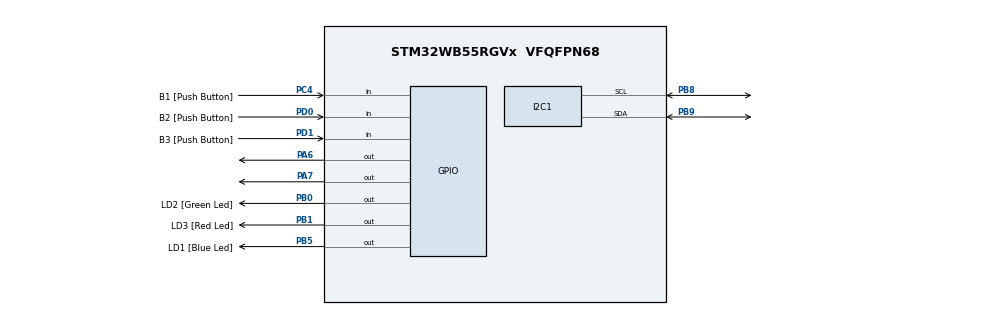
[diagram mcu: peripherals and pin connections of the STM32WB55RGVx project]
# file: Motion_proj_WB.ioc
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Dma.I2C1_RX.0.Direction=DMA_PERIPH_TO_MEMORY
Dma.I2C1_RX.0.EventEnable=DISABLE
Dma.I2C1_RX.0.Instance=DMA1_Channel7
Dma.I2C1_RX.0.MemDataAlignment=DMA_MDATAALIGN_BYTE
Dma.I2C1_RX.0.MemInc=DMA_MINC_ENABLE
Dma.I2C1_RX.0.Mode=DMA_NORMAL
Dma.I2C1_RX.0.PeriphDataAlignment=DMA_PDATAALIGN_BYTE
Dma.I2C1_RX.0.PeriphInc=DMA_PINC_DISABLE
Dma.I2C1_RX.0.Polarity=HAL_DMAMUX_REQ_GEN_RISING
Dma.I2C1_RX.0.Priority=DMA_PRIORITY_MEDIUM
Dma.I2C1_RX.0.RequestNumber=1
Dma.I2C1_RX.0.SignalID=NONE
Dma.I2C1_RX.0.SyncEnable=DISABLE
Dma.I2C1_RX.0.SyncPolarity=HAL_DMAMUX_SYNC_NO_EVENT
Dma.I2C1_RX.0.SyncRequestNumber=1
Dma.I2C1_RX.0.SyncSignalID=NONE
Dma.Request0=I2C1_RX
I2C1.Timing=0x00B07CB4
Mcu.Family=STM32WB
Mcu.Name=STM32WB55RGVx
Mcu.Package=VFQFPN68
NVIC.DMA1_Channel7_IRQn=true\:0\:0\:false\:false\:true\:false\:true\:true
NVIC.HSEM_IRQn=true\:0\:0\:false\:false\:true\:false\:true\:true
NVIC.I2C1_ER_IRQn=true\:0\:0\:false\:false\:true\:true\:true\:true
NVIC.I2C1_EV_IRQn=true\:0\:0\:false\:false\:true\:true\:true\:true
NVIC.IPCC_C1_RX_IRQn=true\:0\:0\:false\:false\:true\:true\:true\:true
NVIC.IPCC_C1_TX_IRQn=true\:0\:0\:false\:false\:true\:true\:true\:true
NVIC.PriorityGroup=NVIC_PRIORITYGROUP_4
NVIC.RTC_WKUP_IRQn=true\:0\:0\:false\:false\:true\:true\:true\:true
OSC_IN.GPIO_Label=RCC_OSC_IN
OSC_IN.Mode=HSE-External-Oscillator
OSC_IN.Signal=RCC_OSC_IN
OSC_OUT.GPIO_Label=RCC_OSC_OUT
OSC_OUT.Mode=HSE-External-Oscillator
OSC_OUT.Signal=RCC_OSC_OUT
PA11.GPIO_Label=USB_DM
PA11.Signal=USB_DM
PA12.GPIO_Label=USB_DP
PA12.Signal=USB_DP
PA13.GPIO_Label=JTMS
PA13.Signal=SYS_JTMS-SWDIO
PA14.GPIO_Label=JTCK
PA14.Signal=SYS_JTCK-SWCLK
PA6.Signal=GPIO_Output
PA7.Signal=GPIO_Output
PB0.GPIO_Label=LD2 [Green Led]
PB0.Signal=GPIO_Output
PB1.GPIO_Label=LD3 [Red Led]
PB1.Signal=GPIO_Output
PB3.GPIO_Label=JTDO
PB3.Signal=SYS_JTDO-SWO
PB5.GPIO_Label=LD1 [Blue Led]
PB5.Signal=GPIO_Output
PB6.GPIO_Label=STLINK_RX
PB6.Signal=USART1_TX
PB7.GPIO_Label=STLINK_TX
PB7.Signal=USART1_RX
PB8.Mode=I2C
PB8.Signal=I2C1_SCL
PB9.Mode=I2C
PB9.Signal=I2C1_SDA
PC13.GPIO_Label=SYS_WKUP2
PC13.Signal=SYS_WKUP2
PC14-OSC32_IN.GPIO_Label=RCC_OSC32_IN
PC14-OSC32_IN.Mode=LSE-External-Oscillator
PC14-OSC32_IN.Signal=RCC_OSC32_IN
PC15-OSC32_OUT.GPIO_Label=RCC_OSC32_OUT
PC15-OSC32_OUT.Mode=LSE-External-Oscillator
PC15-OSC32_OUT.Signal=RCC_OSC32_OUT
PC4.GPIO_Label=B1 [Push Button]
PC4.GPIO_PuPd=GPIO_PULLUP
PC4.Signal=GPIO_Input
PD0.GPIO_Label=B2 [Push Button]
PD0.Signal=GPIO_Input
PD1.GPIO_Label=B3 [Push Button]
PD1.Signal=GPIO_Input
ProjectManager.HeapSize=0x200
ProjectManager.StackSize=0x400
ProjectManager.TargetToolchain=STM32CubeIDE
RCC.ADCFreq_Value=128000000
RCC.AHBFreq_Value=32000000
RCC.APB1Freq_Value=32000000
RCC.APB1TimFreq_Value=32000000
RCC.APB2Freq_Value=32000000
RCC.APB2TimFreq_Value=32000000
RCC.APB3Freq_Value=16000000
RCC.CortexFreq_Value=32000000
RCC.HCLKFreq_Value=32000000
RCC.HSE_VALUE=32000000
RCC.HSI48_VALUE=48000000
RCC.HSI_VALUE=16000000
RCC.MSIClockRange=RCC_MSIRANGE_10
RCC.RFWKPClockSelection=RCC_RFWKPCLKSOURCE_LSE
RCC.RTCClockSelection=RCC_RTCCLKSOURCE_LSE
RCC.SMPSCLockSelection=RCC_SMPSCLKSOURCE_HSI
RCC.SMPSCLockSelectionVirtual=RCC_SMPSCLKSOURCE_HSI
RCC.SMPSCLockSelectionVirtualVirtual=RCC_SMPSCLKSOURCE_HSI
RCC.SMPSDivider=1
RCC.SYSCLKFreq_VALUE=32000000
RCC.USBFreq_Value=128000000
RCC.VCOOutputFreq_Value=256000000
RF1.Mode=RF1_Activate
RF1.Signal=RF_RF1
STM32_WPAN.AD_TYPE_COMPLETE_LOCAL_NAME=myDevice
STM32_WPAN.CUSTOM_P2P_SERVER=Disabled
STM32_WPAN.CUSTOM_TEMPLATE=Enabled
STM32_WPAN.INCLUDE_AD_TYPE_COMPLETE_LOCAL_NAME=1
STM32_WPAN.NUMBER_OF_SERVICES=1
STM32_WPAN.SERVICE1_CHAR1_GATT_NOTIFY_READ_REQ_AND_WAIT_FOR_APPL_RESP=\ 
STM32_WPAN.SERVICE1_CHAR1_GATT_NOTIFY_WRITE_REQ_AND_WAIT_FOR_APPL_RESP=\ 
STM32_WPAN.SERVICE1_CHAR1_LONG_NAME=myCharWrite
STM32_WPAN.SERVICE1_CHAR1_PROP_WRITE=CHAR_PROP_WRITE
STM32_WPAN.SERVICE1_CHAR1_SHORT_NAME=myCharWrite
STM32_WPAN.SERVICE1_CHAR2_LONG_NAME=myCharNotify
STM32_WPAN.SERVICE1_CHAR2_PROP_NOTIFY=CHAR_PROP_NOTIFY
STM32_WPAN.SERVICE1_CHAR2_SHORT_NAME=myCharNotify
STM32_WPAN.SERVICE1_CHAR2_UUID=00 01 00 00 00 00 00 00 00 00 00 00 00 00 00 00
STM32_WPAN.SERVICE1_CHAR2_UUID_128_INPUT_TYPE=1
STM32_WPAN.SERVICE1_CHAR2_VALUE_LENGTH=20
STM32_WPAN.SERVICE1_LONG_NAME=mySVC
STM32_WPAN.SERVICE1_NUMBER_OF_CHARACTERISTICS=2
STM32_WPAN.SERVICE1_SHORT_NAME=mySVC
TIM2.Period=0xffffffff
TIM2.Prescaler=99
VP_HSEM_VS_HSEM.Mode=HSEM_Activate
VP_IPCC_VS_IPCC.Mode=IPCC_Activate
VP_MEMORYMAP_VS_MEMORYMAP.Mode=CurAppReg
VP_RTC_VS_RTC_Activate.Mode=RTC_Enabled
VP_RTC_VS_RTC_WakeUp_intern.Mode=WakeUp
VP_SEQUENCER_VS_SEQUENCER.Mode=SEQUENCER_Enabled
VP_STM32_WPAN_VS_BLE_HOST.Mode=STM32_WPAN_Enabled
VP_TIM2_VS_ClockSourceINT.Mode=Internal
VP_TINY_LPM_VS_TINY_LPM.Mode=TINY_LPM_Enabled
board=NUCLEO-WB55RG

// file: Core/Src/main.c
/* USER CODE BEGIN Header */
/**
 ******************************************************************************
 * @file           : main.c
 * @brief          : Main program body
 ******************************************************************************
 * @attention
 *
 * Copyright (c) 2024 STMicroelectronics.
 * All rights reserved.
 *
 * This software is licensed under terms that can be found in the LICENSE file
 * in the root directory of this software component.
 * If no LICENSE file comes with this software, it is provided AS-IS.
 *
 ******************************************************************************
 */
/* USER CODE END Header */
#include "main.h"

/* USER CODE BEGIN Includes */
#include "custom_stm.h"
/* USER CODE END Includes */

I2C_HandleTypeDef hi2c1;
DMA_HandleTypeDef hdma_i2c1_rx;

IPCC_HandleTypeDef hipcc;

RTC_HandleTypeDef hrtc;

TIM_HandleTypeDef htim2;

/* USER CODE BEGIN PV */
uint8_t gyro_buffer[6] = { 0, 0, 0, 0, 0, 0 };
uint8_t accel_buffer[6] = { 0, 0, 0, 0, 0, 0 };
uint8_t mag_buffer[6] = { 0, 0, 0, 0, 0, 0 };

int16_t gyroX = 0;
int16_t gyroY = 0;
int16_t gyroZ = 0;
int16_t accelX = 0;
int16_t accelY = 0;
int16_t accelZ = 0;
int16_t magX = 0;
int16_t magY = 0;
int16_t magZ = 0;

float accel_x = 0;
float accel_y = 0;
float accel_z = 0;

float gyro_x = 0;
float gyro_y = 0;
float gyro_z = 0;

float gyroX_sum = 0, gyroY_sum = 0, gyroZ_sum = 0;
float gyroX_avg = 0, gyroY_avg = 0, gyroZ_avg = 0;
float gyroX_current = 0, gyroY_current = 0, gyroZ_current = 0;

float mag_x = 0;
float mag_y = 0;
float mag_z = 0;

SensorType CurrentSensor = GYRO_SENSOR;

int DAM_Callback_cnt = 0;

int ReadGryo_cnt = 0;
int ReadAccel_cnt = 0;
int ReadMag_cnt = 0;

float recipNorm;
float s0, s1, s2, s3;
float qDot1, qDot2, qDot3, qDot4;
float hx, hy;
float _2q0mx, _2q0my, _2q0mz, _2q1mx, _2bx, _2bz, _4bx, _4bz, _2q0, _2q1, _2q2,
		_2q3, _2q0q2, _2q2q3, q0q0, q0q1, q0q2, q0q3, q1q1, q1q2, q1q3, q2q2,
		q2q3, q3q3;

float ax1, ay1, az1, gx1, gy1, gz1, mx1, my1, mz1, mx2, my2, mz2;
volatile float q0 = 1.0f, q1 = 0.0f, q2 = 0.0f, q3 = 0.0f;
float deltat = 0.0f;
volatile float beta = betaDef;

uint32_t lastUpdate = 0;
uint32_t micro_time = 0;
uint32_t Now = 0;

float gxyz[3], gxyz1[3], axyz[3], axyz1[3], mxyz[3], axyz2[3];
//float result_V[3];

//float hardIron_x = -14.73;
//float hardIron_y = -33.35;
//float hardIron_z = 0.49;

float hardIron_x = -4.81;
float hardIron_y = -12.49;
float hardIron_z = 7.03;

//float softIron_cali[3][3] = { { 1.001, 0.033, -0.006 }, { 0.033, 0.968, 0.000 },
//		{ -0.006, -0.000, 1.033 } };

float softIron_cali[3][3] = { { 1.004, 0.090, -0.006 },
		{ 0.090, 0.980, -0.000 }, { -0.006, -0.000, 1.023 } };

uint8_t magcal_flag = 1;
static int magcal_counter = 0;

MagCalibration_t magcal;

float test_val = 0;
uint16_t mag_raw[3] = { 0, 0, 0 };

int32_t rawx, rawy, rawz;
int32_t dx, dy, dz;
float x, y, z;
uint64_t distsq, minsum = 0xFFFFFFFFFFFFFFFFull;
static int runcount = 0;
int i, j, minindex = 0;
Point_t point;
float gaps = 99, field, error, errormax;

int choose_flag = 0;
const double DEG2RAD = M_PI / 180.0;

uint32_t waitcount = 0;

/* USER CODE END PV */

void SystemClock_Config(void);
void PeriphCommonClock_Config(void);
static void MX_GPIO_Init(void);
static void MX_DMA_Init(void);
static void MX_I2C1_Init(void);
static void MX_IPCC_Init(void);
static void MX_RTC_Init(void);
static void MX_TIM2_Init(void);
static void MX_RF_Init(void);

/* USER CODE BEGIN 0 */

void LSM9DS1_WriteRegister(uint8_t addr, uint8_t reg, uint8_t value) {
	HAL_I2C_Mem_Write(&hi2c1, addr, reg, I2C_MEMADD_SIZE_8BIT, &value, 1,
	HAL_MAX_DELAY);
}

uint8_t LSM9DS1_ReadRegister(uint8_t addr, uint8_t reg) {
	uint8_t value;
	HAL_I2C_Mem_Read(&hi2c1, addr, reg, I2C_MEMADD_SIZE_8BIT, &value, 1,
	HAL_MAX_DELAY);
	return value;
}

void LSM9DS1_Init() {
	//sensor reset
	LSM9DS1_WriteRegister(LSM9DS1_ADDR, CTRL_REG8, 0x05);
	HAL_Delay(10);

	//low-power setting
	//gyro setting
//	LSM9DS1_WriteRegister(LSM9DS1_ADDR, CTRL_REG1_G, 0x40); //gyro ODR 59.5 Hz(low-power mode), full scale 245dps(basic)
	LSM9DS1_WriteRegister(LSM9DS1_ADDR, CTRL_REG1_G, 0x60); //ODR_G = 119Hz, FS = 245dps
//	LSM9DS1_WriteRegister(LSM9DS1_ADDR, CTRL_REG1_G, 0x6C); //ODR_G = 119Hz, FS = 2000dps
	LSM9DS1_WriteRegister(LSM9DS1_ADDR, CTRL_REG3_G, 0x80); //gyro low-power mode activate
	HAL_Delay(10);

	//accel setting
//	LSM9DS1_WriteRegister(LSM9DS1_ADDR, CTRL_REG6_XL, 0x20); //accel ODR 10Hz, full scale 2g(basic)
	LSM9DS1_WriteRegister(LSM9DS1_ADDR, CTRL_REG6_XL, 0x60); // ODR_XL = 119Hz, FS = ±2g
//	LSM9DS1_WriteRegister(LSM9DS1_ADDR, CTRL_REG6_XL, 0x58); // ODR_XL = 119Hz, FS = ±4g
//	LSM9DS1_WriteRegister(LSM9DS1_ADDR, CTRL_REG6_XL, 0x68); // ODR_XL = 119Hz, FS = ±8g
	LSM9DS1_WriteRegister(LSM9DS1_ADDR, CTRL_REG7_XL, 0x00); //accel low-power mode activate
	HAL_Delay(10);

	//mag setting
//	LSM9DS1_WriteRegister(MAG_ADDR, CTRL_REG1_M, 0x10); // mag ODR 10Hz, temp-comp activate
	LSM9DS1_WriteRegister(MAG_ADDR, CTRL_REG1_M, 0x7C); // OM = 11 (ultra-high), DO = 110 (80Hz)
	LSM9DS1_WriteRegister(MAG_ADDR, CTRL_REG3_M, 0x00); // mag Continuous-conversion mode activate
	HAL_Delay(10);

	//not low-power setting
	//gyro setting
//	LSM9DS1_WriteRegister(LSM9DS1_ADDR, CTRL_REG1_G, 0xE0); // gyro ODR 952Hz, full scale 245dps(basic)
//	LSM9DS1_WriteRegister(LSM9DS1_ADDR, CTRL_REG3_G, 0x00); // gyro low-power mode deactivate
//	HAL_Delay(10);
//
//	//accel setting
//	LSM9DS1_WriteRegister(LSM9DS1_ADDR, CTRL_REG6_XL, 0x60); // accel ODR 952Hz, full scale 2g(basic)
//	LSM9DS1_WriteRegister(LSM9DS1_ADDR, CTRL_REG7_XL, 0x80); // accel high-resolution mode activate
//	HAL_Delay(10);
//
//	//mag setting
//	LSM9DS1_WriteRegister(MAG_ADDR, CTRL_REG1_M, 0x70); // mag ODR 80Hz, temp-comp activate
//	LSM9DS1_WriteRegister(MAG_ADDR, CTRL_REG3_M, 0x00); // mag Continuous-conversion mode activate
//	HAL_Delay(10);
}

uint32_t micros(void) {
	return micro_time = __HAL_TIM_GET_COUNTER(&htim2);
}

float invSqrt(float x) {
	float halfx = 0.5f * x;
	float y = x;
	long i = *(long*) &y;
	i = 0x5f3759df - (i >> 1);
	y = *(float*) &i;
	y = y * (1.5f - (halfx * y * y));
	return y;
}

float vector_dot(float a[3], float b[3]) {
	return a[0] * b[0] + a[1] * b[1] + a[2] * b[2];
}

void vector_normalize(float a[3]) {
	float mag = sqrt(vector_dot(a, a));
	a[0] /= mag;
	a[1] /= mag;
	a[2] /= mag;
}

void MadgwickAHRSupdate(float gx, float gy, float gz, float ax, float ay,
		float az, float mx, float my, float mz) {

	qDot1 = 0.5f * (-q1 * gx - q2 * gy - q3 * gz);
	qDot2 = 0.5f * (q0 * gx + q2 * gz - q3 * gy);
	qDot3 = 0.5f * (q0 * gy - q1 * gz + q3 * gx);
	qDot4 = 0.5f * (q0 * gz + q1 * gy - q2 * gx);

	if (!((ax == 0.0f) && (ay == 0.0f) && (az == 0.0f))) {

		recipNorm = invSqrt(ax * ax + ay * ay + az * az);
		ax *= recipNorm;
		ay *= recipNorm;
		az *= recipNorm;

		recipNorm = invSqrt(mx * mx + my * my + mz * mz);
		mx *= recipNorm;
		my *= recipNorm;
		mz *= recipNorm;

		_2q0mx = 2.0f * q0 * mx;
		_2q0my = 2.0f * q0 * my;
		_2q0mz = 2.0f * q0 * mz;
		_2q1mx = 2.0f * q1 * mx;
		_2q0 = 2.0f * q0;
		_2q1 = 2.0f * q1;
		_2q2 = 2.0f * q2;
		_2q3 = 2.0f * q3;
		_2q0q2 = 2.0f * q0 * q2;
		_2q2q3 = 2.0f * q2 * q3;
		q0q0 = q0 * q0;
		q0q1 = q0 * q1;
		q0q2 = q0 * q2;
		q0q3 = q0 * q3;
		q1q1 = q1 * q1;
		q1q2 = q1 * q2;
		q1q3 = q1 * q3;
		q2q2 = q2 * q2;
		q2q3 = q2 * q3;
		q3q3 = q3 * q3;

		hx = mx * q0q0 - _2q0my * q3 + _2q0mz * q2 + mx * q1q1 + _2q1 * my * q2
				+ _2q1 * mz * q3 - mx * q2q2 - mx * q3q3;
		hy = _2q0mx * q3 + my * q0q0 - _2q0mz * q1 + _2q1mx * q2 - my * q1q1
				+ my * q2q2 + _2q2 * mz * q3 - my * q3q3;
		_2bx = sqrt(hx * hx + hy * hy);
		_2bz = -_2q0mx * q2 + _2q0my * q1 + mz * q0q0 + _2q1mx * q3 - mz * q1q1
				+ _2q2 * my * q3 - mz * q2q2 + mz * q3q3;
		_4bx = 2.0f * _2bx;
		_4bz = 2.0f * _2bz;

		s0 = -_2q2 * (2.0f * q1q3 - _2q0q2 - ax)
				+ _2q1 * (2.0f * q0q1 + _2q2q3 - ay)
				- _2bz * q2
						* (_2bx * (0.5f - q2q2 - q3q3) + _2bz * (q1q3 - q0q2)
								- mx)
				+ (-_2bx * q3 + _2bz * q1)
						* (_2bx * (q1q2 - q0q3) + _2bz * (q0q1 + q2q3) - my)
				+ _2bx * q2
						* (_2bx * (q0q2 + q1q3) + _2bz * (0.5f - q1q1 - q2q2)
								- mz);
		s1 = _2q3 * (2.0f * q1q3 - _2q0q2 - ax)
				+ _2q0 * (2.0f * q0q1 + _2q2q3 - ay)
				- 4.0f * q1 * (1 - 2.0f * q1q1 - 2.0f * q2q2 - az)
				+ _2bz * q3
						* (_2bx * (0.5f - q2q2 - q3q3) + _2bz * (q1q3 - q0q2)
								- mx)
				+ (_2bx * q2 + _2bz * q0)
						* (_2bx * (q1q2 - q0q3) + _2bz * (q0q1 + q2q3) - my)
				+ (_2bx * q3 - _4bz * q1)
						* (_2bx * (q0q2 + q1q3) + _2bz * (0.5f - q1q1 - q2q2)
								- mz);
		s2 = -_2q0 * (2.0f * q1q3 - _2q0q2 - ax)
				+ _2q3 * (2.0f * q0q1 + _2q2q3 - ay)
				- 4.0f * q2 * (1 - 2.0f * q1q1 - 2.0f * q2q2 - az)
				+ (-_4bx * q2 - _2bz * q0)
						* (_2bx * (0.5f - q2q2 - q3q3) + _2bz * (q1q3 - q0q2)
								- mx)
				+ (_2bx * q1 + _2bz * q3)
						* (_2bx * (q1q2 - q0q3) + _2bz * (q0q1 + q2q3) - my)
				+ (_2bx * q0 - _4bz * q2)
						* (_2bx * (q0q2 + q1q3) + _2bz * (0.5f - q1q1 - q2q2)
								- mz);
		s3 = _2q1 * (2.0f * q1q3 - _2q0q2 - ax)
				+ _2q2 * (2.0f * q0q1 + _2q2q3 - ay)
				+ (-_4bx * q3 + _2bz * q1)
						* (_2bx * (0.5f - q2q2 - q3q3) + _2bz * (q1q3 - q0q2)
								- mx)
				+ (-_2bx * q0 + _2bz * q2)
						* (_2bx * (q1q2 - q0q3) + _2bz * (q0q1 + q2q3) - my)
				+ _2bx * q1
						* (_2bx * (q0q2 + q1q3) + _2bz * (0.5f - q1q1 - q2q2)
								- mz);
		recipNorm = invSqrt(s0 * s0 + s1 * s1 + s2 * s2 + s3 * s3); // normalise step magnitude
		s0 *= recipNorm;
		s1 *= recipNorm;
		s2 *= recipNorm;
		s3 *= recipNorm;

		qDot1 -= beta * s0;
		qDot2 -= beta * s1;
		qDot3 -= beta * s2;
		qDot4 -= beta * s3;
	}

	q0 += qDot1 * (deltat);
	q1 += qDot2 * (deltat);
	q2 += qDot3 * (deltat);
	q3 += qDot4 * (deltat);

	recipNorm = invSqrt(q0 * q0 + q1 * q1 + q2 * q2 + q3 * q3);
	q0 *= recipNorm;
	q1 *= recipNorm;
	q2 *= recipNorm;
	q3 *= recipNorm;
}

//low_power_code
void LSM9DS1_ReadGyro_DMA(void) {
	HAL_I2C_Mem_Read_DMA(&hi2c1, LSM9DS1_ADDR, OUT_X_G | 0x80,
	I2C_MEMADD_SIZE_8BIT, gyro_buffer, 6);
}

void LSM9DS1_ReadAccel_DMA(void) {
	HAL_I2C_Mem_Read_DMA(&hi2c1, LSM9DS1_ADDR, OUT_X_XL | 0x80,
	I2C_MEMADD_SIZE_8BIT, accel_buffer, 6);
}

void LSM9DS1_ReadMag_DMA(void) {
	HAL_I2C_Mem_Read_DMA(&hi2c1, MAG_ADDR, OUT_X_M | 0x80, I2C_MEMADD_SIZE_8BIT,
			mag_buffer, 6);
}

void magcal_Init(void) {
	memset(&magcal, 0, sizeof(magcal));
	magcal.V[2] = 80.0f;
	magcal.invW[0][0] = 1.0f;
	magcal.invW[1][1] = 1.0f;
	magcal.invW[2][2] = 1.0f;
	magcal.FitError = 100.0f;
	magcal.FitErrorAge = 100.0f;
	magcal.B = 50.0f;
}

static int chunk_i = 0;
static int chunk_j = 0;

void apply_calibration(int16_t rawx, int16_t rawy, int16_t rawz, Point_t *out) {
	float x, y, z;

	x = ((float) rawx * UT_PER_COUNT) - magcal.V[0];
	y = ((float) rawy * UT_PER_COUNT) - magcal.V[1];
	z = ((float) rawz * UT_PER_COUNT) - magcal.V[2];
	out->x = x * magcal.invW[0][0] + y * magcal.invW[0][1]
			+ z * magcal.invW[0][2];
	out->y = x * magcal.invW[1][0] + y * magcal.invW[1][1]
			+ z * magcal.invW[1][2];
	out->z = x * magcal.invW[2][0] + y * magcal.invW[2][1]
			+ z * magcal.invW[2][2];
}

static int choose_discard_magcal(void) {
	choose_flag = 1;
	// When enough data is collected (gaps error is low), assume we
	// have a pretty good coverage and the field stregth is known.
	gaps = quality_surface_gap_error();
	if (gaps < 25.0f) {
		// occasionally look for points farthest from average field strength
		// always rate limit assumption-based data purging, but allow the
		// rate to increase as the angular coverage improves.
		if (gaps < 1.0f)
			gaps = 1.0f;
		if (++runcount > (int) (gaps * 10.0f)) {
			j = MAGBUFFSIZE;
			errormax = 0.0f;
			for (i = 0; i < MAGBUFFSIZE; i++) {
				rawx = magcal.BpFast[0][i];
				rawy = magcal.BpFast[1][i];
				rawz = magcal.BpFast[2][i];
//				apply_calibration(rawx, rawy, rawz, &point);
				x = point.x;
				y = point.y;
				z = point.z;
				field = sqrtf(x * x + y * y + z * z);
				// if magcal.B is bad, things could go horribly wrong
				error = fabsf(field - magcal.B);
				if (error > errormax) {
					errormax = error;
					j = i;
				}
			}
			runcount = 0;
			if (j < MAGBUFFSIZE) {
				//printf("worst error at %d\n", j);
				return j;
			}
		}
	} else {
		runcount = 0;
	}

//	for (i = 0; i < MAGBUFFSIZE; i++)
//	{
//		for (j = i + 1; j < MAGBUFFSIZE; j++) {
//			dx = magcal.BpFast[0][i] - magcal.BpFast[0][j];
//			dy = magcal.BpFast[1][i] - magcal.BpFast[1][j];
//			dz = magcal.BpFast[2][i] - magcal.BpFast[2][j];
//			distsq = (int64_t) dx * (int64_t) dx;
//			distsq += (int64_t) dy * (int64_t) dy;
//			distsq += (int64_t) dz * (int64_t) dz;
//			if (distsq < minsum) {
//				minsum = distsq;
//				minindex = (random() & 1) ? i : j;
//			}
//		}
//	}

	for (int cnt = 0; cnt < 10; cnt++) {
		if (chunk_i >= MAGBUFFSIZE) {
			chunk_i = 0;
			chunk_j = 0;
			break;
		}

		if (chunk_j >= MAGBUFFSIZE) {
			chunk_i++;
			chunk_j = chunk_i + 1;
			continue;
		}

		dx = magcal.BpFast[0][chunk_i] - magcal.BpFast[0][chunk_j];
		dy = magcal.BpFast[1][chunk_i] - magcal.BpFast[1][chunk_j];
		dz = magcal.BpFast[2][chunk_i] - magcal.BpFast[2][chunk_j];
		distsq = (int64_t) dx * (int64_t) dx + (int64_t) dy * (int64_t) dy
				+ (int64_t) dz * (int64_t) dz;

		if (distsq < minsum) {
			minsum = distsq;
			minindex = (random() & 1) ? chunk_i : chunk_j;
		}

		chunk_j++;
	}

	return minindex;
}

static void add_magcal_data(const int16_t *data) {

	int i;

	// first look for an unused caldata slot
	for (i = 0; i < MAGBUFFSIZE; i++) {
		if (!magcal.valid[i])
			break;
	}

	if (i >= MAGBUFFSIZE) {
		i = choose_discard_magcal();
		if (i < 0 || i >= MAGBUFFSIZE) {
			i = random() % MAGBUFFSIZE;
		}
	}

	// add it to the cal buffer
	magcal.BpFast[0][i] = data[0];
	magcal.BpFast[1][i] = data[1];
	magcal.BpFast[2][i] = data[2];
	magcal.valid[i] = 1;
}

bool is_mag_moving(float magX, float magY, float magZ) {
	static float prevX = 0.0f, prevY = 0.0f, prevZ = 0.0f;
	static int initialized = 0;

	if (!initialized) {
		prevX = magX;
		prevY = magY;
		prevZ = magZ;
		initialized = 1;
		return true;  // 초기에는 무조건 움직인 것으로 간주
	}

	float deltaX = magX - prevX;
	float deltaY = magY - prevY;
	float deltaZ = magZ - prevZ;

	float deltaMag = sqrtf(deltaX * deltaX + deltaY * deltaY + deltaZ * deltaZ);

	// 현재 값을 저장
	prevX = magX;
	prevY = magY;
	prevZ = magZ;

	return deltaMag > MAG_MOVEMENT_THRESHOLD;
}

void process_imu_data(int16_t raw_magX, int16_t raw_magY, int16_t raw_magZ) {

	// 자력계 값 변환 (단위: uT)
	float magX = raw_magX * MAG_SENSITIVITY_4GAUSS;
	float magY = raw_magY * MAG_SENSITIVITY_4GAUSS;
	float magZ = raw_magZ * MAG_SENSITIVITY_4GAUSS;

	// 자력계 변화 기반 움직임 감지
	if (is_mag_moving(magX, magY, magZ)) {
		mag_raw[0] = raw_magX;
		mag_raw[1] = raw_magY;
		mag_raw[2] = raw_magZ;

		add_magcal_data(mag_raw);

		// waitcount 방식 캘리브레이션
		waitcount++;
		if (waitcount >= 20) {
			if (MagCal_Run()) {
				// 캘리브레이션 성공 시 추가 작업 가능
			}
			waitcount = 0;
		}
	}

	//	mag_raw[0] = raw_magX;
//	mag_raw[1] = raw_magY;
//	mag_raw[2] = raw_magZ;
//
//	add_magcal_data(mag_raw);
//
//	waitcount++;
//
//	if (waitcount >= 5) {
//	    if (MagCal_Run()) {
//	    }
//	    waitcount = 0;
//	}
}

void HAL_I2C_MemRxCpltCallback(I2C_HandleTypeDef *hi2c) {

//	DAM_Callback_cnt++;

	if (hi2c->Instance == I2C1) {
		if (CurrentSensor == GYRO_SENSOR) {
			gyroX = (int16_t) ((gyro_buffer[1] << 8) | gyro_buffer[0]);
			gyroY = (int16_t) ((gyro_buffer[3] << 8) | gyro_buffer[2]);
			gyroZ = (int16_t) ((gyro_buffer[5] << 8) | gyro_buffer[4]);

			gyroX_current = gyroX * GYRO_SENSITIVITY_245DPS * DEG2RAD;
			gyroY_current = gyroY * GYRO_SENSITIVITY_245DPS * DEG2RAD;
			gyroZ_current = gyroZ * GYRO_SENSITIVITY_245DPS * DEG2RAD;

//			gyroX_current = gyroX * GYRO_SENSITIVITY_245DPS * DEG2RAD / 1000.0f;
//			gyroY_current = gyroY * GYRO_SENSITIVITY_245DPS * DEG2RAD / 1000.0f;
//			gyroZ_current = gyroZ * GYRO_SENSITIVITY_245DPS * DEG2RAD / 1000.0f;

//			gyroX_current = gyroX * (245.0f * (M_PI / 180.0f) / 32768.0f); // rad/s
//			gyroY_current = gyroY * (245.0f * (M_PI / 180.0f) / 32768.0f); // rad/s
//			gyroZ_current = gyroZ * (245.0f * (M_PI / 180.0f) / 32768.0f); // rad/s

//			gyroX_current = gyroX * GYRO_SENSITIVITY_245DPS ;
//			gyroY_current = gyroY * GYRO_SENSITIVITY_245DPS ;
//			gyroZ_current = gyroZ * GYRO_SENSITIVITY_245DPS ;

			if (DAM_Callback_cnt < 1000) {

				gyroX_sum += gyroX_current;
				gyroY_sum += gyroY_current;
				gyroZ_sum += gyroZ_current;

				DAM_Callback_cnt++;

			} else {

				DAM_Callback_cnt = 10000;

				gyroX_avg = gyroX_sum / 1000.0f;
				gyroY_avg = gyroY_sum / 1000.0f;
				gyroZ_avg = gyroZ_sum / 1000.0f;

				gyro_x = gyroX_current - gyroX_avg;
				gyro_y = gyroY_current - gyroY_avg;
				gyro_z = gyroZ_current - gyroZ_avg;

				gxyz[0] = gyro_x;
				gxyz[1] = gyro_y;
				gxyz[2] = gyro_z;

				CurrentSensor = ACCEL_SENSOR;
				LSM9DS1_ReadAccel_DMA();
			}

		} else if (CurrentSensor == ACCEL_SENSOR) {
			accelX = (int16_t) ((accel_buffer[1] << 8) | accel_buffer[0]);
			accelY = (int16_t) ((accel_buffer[3] << 8) | accel_buffer[2]);
			accelZ = (int16_t) ((accel_buffer[5] << 8) | accel_buffer[4]);

//			accel_x = accelX * ACCEL_SENSITIVITY_2G * 0.001f;
//			accel_y = accelY * ACCEL_SENSITIVITY_2G * 0.001f;
//			accel_z = accelZ * ACCEL_SENSITIVITY_2G * 0.001f;

			accel_x = accelX * (2.0f * 9.81f / 32768.0f); // 2G = 2 * 9.81 m/s², 16비트 = 32768
			accel_y = accelY * (2.0f * 9.81f / 32768.0f);
			accel_z = accelZ * (2.0f * 9.81f / 32768.0f);

			axyz[0] = accel_x;
			axyz[1] = accel_y;
			axyz[2] = accel_z;

			axyz2[0] = axyz[0];
			axyz2[1] = axyz[1];
			axyz2[2] = axyz[2];

			axyz[0] = axyz[0] * 1 / 9.8;
			axyz[1] = axyz[1] * 1 / 9.8;
			axyz[2] = axyz[2] * 1 / 9.8;

			vector_normalize(axyz);

			CurrentSensor = MAG_SENSOR;
			LSM9DS1_ReadMag_DMA();

		} else if (CurrentSensor == MAG_SENSOR) {
			magX = (int16_t) ((mag_buffer[1] << 8) | mag_buffer[0]);
			magY = (int16_t) ((mag_buffer[3] << 8) | mag_buffer[2]);
			magZ = (int16_t) ((mag_buffer[5] << 8) | mag_buffer[4]);

//			mag_x = magX * MAG_SENSITIVITY_4GAUSS * 0.1f;
//			mag_y = magY * MAG_SENSITIVITY_4GAUSS * 0.1f;
//			mag_z = magZ * MAG_SENSITIVITY_4GAUSS * 0.1f;

			mag_x = magX * (4.0f / 32768.0f) * 100;  // uT
			mag_y = magY * (4.0f / 32768.0f) * 100;  // uT
			mag_z = magZ * (4.0f / 32768.0f) * 100;  // uT

			mx1 = mag_x - hardIron_x;
			my1 = mag_y - hardIron_y;
			mz1 = mag_z - hardIron_z;

			float corrected_V[] = { mx1, my1, mz1 };
			float result_V[3];

			result_V[0] = corrected_V[0] * softIron_cali[0][0]
					+ corrected_V[1] * softIron_cali[0][1]
					+ corrected_V[2] * softIron_cali[0][2];
			result_V[1] = corrected_V[0] * softIron_cali[1][0]
					+ corrected_V[1] * softIron_cali[1][1]
					+ corrected_V[2] * softIron_cali[1][2];
			result_V[2] = corrected_V[0] * softIron_cali[2][0]
					+ corrected_V[1] * softIron_cali[2][1]
					+ corrected_V[2] * softIron_cali[2][2];

			mx2 = result_V[0];
			my2 = result_V[1];
			mz2 = result_V[2];

			mxyz[0] = mx2;
			mxyz[1] = my2;
			mxyz[2] = mz2;

			vector_normalize(mxyz);

			axyz1[0] = -axyz[0];
			gxyz1[0] = -gxyz[0];

			Now = micros();
			deltat = (Now - lastUpdate) * 1.0e-6 * 5.0f;
			;
			lastUpdate = Now;

			MadgwickAHRSupdate(gxyz1[0], gxyz[1], gxyz[2], axyz1[0], axyz[1],
					axyz[2], mxyz[0], mxyz[1], mxyz[2]);

			UTIL_SEQ_SetTask(1 << CFG_TASK_MY_TASK_BLE, CFG_SCH_PRIO_0);
			CurrentSensor = GYRO_SENSOR;

		} else if (CurrentSensor = MAG_SENSOR_CAL) {

			DAM_Callback_cnt = 0;

			magX = (int16_t) ((mag_buffer[1] << 8) | mag_buffer[0]);
			magY = (int16_t) ((mag_buffer[3] << 8) | mag_buffer[2]);
			magZ = (int16_t) ((mag_buffer[5] << 8) | mag_buffer[4]);

			mag_x = magX * MAG_SENSITIVITY_4GAUSS;
			mag_y = magY * MAG_SENSITIVITY_4GAUSS;
			mag_z = magZ * MAG_SENSITIVITY_4GAUSS;

			//magcal algorithm
			process_imu_data(mag_x, mag_y, mag_z);
//			magcal_counter++;

//			if (magcal_counter >= 20) {
//				MagCal_Run();
//				magcal_counter = 0;
//			}

			for (i = 0; i < MAGBUFFSIZE; i++) {
				if (magcal.valid[i]) {

					apply_calibration(magcal.BpFast[0][i], magcal.BpFast[1][i],
							magcal.BpFast[2][i], &point);
					quality_update(&point);
				}
			}

			if (gaps <= 1.2 && magcal.FitError < 2.1) {

				hardIron_x = magcal.V[0];
				hardIron_y = magcal.V[1];
				hardIron_z = magcal.V[2];

				for (int i = 0; i < 3; i++) {
					for (int j = 0; j < 3; j++) {
						softIron_cali[i][j] = magcal.invW[i][j];
					}
				}
				CurrentSensor = GYRO_SENSOR;
				LSM9DS1_ReadGyro_DMA();
			} else {
				LSM9DS1_ReadMag_DMA();
			}
		}
	}
}

/* USER CODE END 0 */

int main(void) {

	/* MCU Configuration--------------------------------------------------------*/

	/* Reset of all peripherals, Initializes the Flash interface and the Systick. */
	HAL_Init();
	/* Config code for STM32_WPAN (HSE Tuning must be done before system clock configuration) */
	MX_APPE_Config();

	/* Configure the system clock */
	SystemClock_Config();

	/* Configure the peripherals common clocks */
	PeriphCommonClock_Config();

	/* IPCC initialisation */
	MX_IPCC_Init();

	/* Initialize all configured peripherals */
	MX_GPIO_Init();
	MX_DMA_Init();
	MX_I2C1_Init();
	MX_RTC_Init();
	MX_TIM2_Init();
	MX_RF_Init();

	/* Init code for STM32_WPAN */
	MX_APPE_Init();

	/* Infinite loop */
	/* USER CODE BEGIN WHILE */
	LSM9DS1_Init();
	HAL_Delay(10);

	HAL_TIM_Base_Start(&htim2);

	magcal_Init();

	while (1) {

		/* USER CODE END WHILE */
		MX_APPE_Process();

		/* USER CODE BEGIN 3 */

		//low_power_code
		if (CurrentSensor == MAG_SENSOR_CAL) {
			LSM9DS1_ReadMag_DMA();
		} else {
			LSM9DS1_ReadGyro_DMA();
		}

	}
	/* USER CODE END 3 */
}

void SystemClock_Config(void) {
	RCC_OscInitTypeDef RCC_OscInitStruct = { 0 };
	RCC_ClkInitTypeDef RCC_ClkInitStruct = { 0 };

	/** Configure LSE Drive Capability
	 */
	HAL_PWR_EnableBkUpAccess();
	__HAL_RCC_LSEDRIVE_CONFIG(RCC_LSEDRIVE_MEDIUMHIGH);

	/** Configure the main internal regulator output voltage
	 */
	__HAL_PWR_VOLTAGESCALING_CONFIG(PWR_REGULATOR_VOLTAGE_SCALE1);

	/** Initializes the RCC Oscillators according to the specified parameters
	 * in the RCC_OscInitTypeDef structure.
	 */
	RCC_OscInitStruct.OscillatorType = RCC_OSCILLATORTYPE_HSI
			| RCC_OSCILLATORTYPE_HSE | RCC_OSCILLATORTYPE_LSE
			| RCC_OSCILLATORTYPE_MSI;
	RCC_OscInitStruct.HSEState = RCC_HSE_ON;
	RCC_OscInitStruct.LSEState = RCC_LSE_ON;
	RCC_OscInitStruct.HSIState = RCC_HSI_ON;
	RCC_OscInitStruct.MSIState = RCC_MSI_ON;
	RCC_OscInitStruct.HSICalibrationValue = RCC_HSICALIBRATION_DEFAULT;
	RCC_OscInitStruct.MSICalibrationValue = RCC_MSICALIBRATION_DEFAULT;
	RCC_OscInitStruct.MSIClockRange = RCC_MSIRANGE_10;
	RCC_OscInitStruct.PLL.PLLState = RCC_PLL_NONE;
	if (HAL_RCC_OscConfig(&RCC_OscInitStruct) != HAL_OK) {
		Error_Handler();
	}

	/** Configure the SYSCLKSource, HCLK, PCLK1 and PCLK2 clocks dividers
	 */
	RCC_ClkInitStruct.ClockType = RCC_CLOCKTYPE_HCLK4 | RCC_CLOCKTYPE_HCLK2
			| RCC_CLOCKTYPE_HCLK | RCC_CLOCKTYPE_SYSCLK | RCC_CLOCKTYPE_PCLK1
			| RCC_CLOCKTYPE_PCLK2;
	RCC_ClkInitStruct.SYSCLKSource = RCC_SYSCLKSOURCE_MSI;
	RCC_ClkInitStruct.AHBCLKDivider = RCC_SYSCLK_DIV1;
	RCC_ClkInitStruct.APB1CLKDivider = RCC_HCLK_DIV1;
	RCC_ClkInitStruct.APB2CLKDivider = RCC_HCLK_DIV1;
	RCC_ClkInitStruct.AHBCLK2Divider = RCC_SYSCLK_DIV1;
	RCC_ClkInitStruct.AHBCLK4Divider = RCC_SYSCLK_DIV1;

	if (HAL_RCC_ClockConfig(&RCC_ClkInitStruct, FLASH_LATENCY_1) != HAL_OK) {
		Error_Handler();
	}
}

void PeriphCommonClock_Config(void) {
	RCC_PeriphCLKInitTypeDef PeriphClkInitStruct = { 0 };

	/** Initializes the peripherals clock
	 */
	PeriphClkInitStruct.PeriphClockSelection = RCC_PERIPHCLK_SMPS
			| RCC_PERIPHCLK_RFWAKEUP;
	PeriphClkInitStruct.RFWakeUpClockSelection = RCC_RFWKPCLKSOURCE_LSE;
	PeriphClkInitStruct.SmpsClockSelection = RCC_SMPSCLKSOURCE_HSI;
	PeriphClkInitStruct.SmpsDivSelection = RCC_SMPSCLKDIV_RANGE0;

	if (HAL_RCCEx_PeriphCLKConfig(&PeriphClkInitStruct) != HAL_OK) {
		Error_Handler();
	}
}

static void MX_I2C1_Init(void) {

	hi2c1.Instance = I2C1;
	hi2c1.Init.Timing = 0x00B07CB4;
	hi2c1.Init.OwnAddress1 = 0;
	hi2c1.Init.AddressingMode = I2C_ADDRESSINGMODE_7BIT;
	hi2c1.Init.DualAddressMode = I2C_DUALADDRESS_DISABLE;
	hi2c1.Init.OwnAddress2 = 0;
	hi2c1.Init.OwnAddress2Masks = I2C_OA2_NOMASK;
	hi2c1.Init.GeneralCallMode = I2C_GENERALCALL_DISABLE;
	hi2c1.Init.NoStretchMode = I2C_NOSTRETCH_DISABLE;
	if (HAL_I2C_Init(&hi2c1) != HAL_OK) {
		Error_Handler();
	}

	/** Configure Analogue filter
	 */
	if (HAL_I2CEx_ConfigAnalogFilter(&hi2c1, I2C_ANALOGFILTER_ENABLE)
			!= HAL_OK) {
		Error_Handler();
	}

	/** Configure Digital filter
	 */
	if (HAL_I2CEx_ConfigDigitalFilter(&hi2c1, 0) != HAL_OK) {
		Error_Handler();
	}
	/* USER CODE BEGIN I2C1_Init 2 */
//	__HAL_LINKDMA(&hi2c1, hdmarx, hdma_i2c1_rx);
	/* USER CODE END I2C1_Init 2 */

}

static void MX_IPCC_Init(void) {

	hipcc.Instance = IPCC;
	if (HAL_IPCC_Init(&hipcc) != HAL_OK) {
		Error_Handler();
	}

}

static void MX_RF_Init(void) {

}

static void MX_RTC_Init(void) {

	/** Initialize RTC Only
	 */
	hrtc.Instance = RTC;
	hrtc.Init.HourFormat = RTC_HOURFORMAT_24;
	hrtc.Init.AsynchPrediv = CFG_RTC_ASYNCH_PRESCALER;
	hrtc.Init.SynchPrediv = CFG_RTC_SYNCH_PRESCALER;
	hrtc.Init.OutPut = RTC_OUTPUT_DISABLE;
	hrtc.Init.OutPutPolarity = RTC_OUTPUT_POLARITY_HIGH;
	hrtc.Init.OutPutType = RTC_OUTPUT_TYPE_OPENDRAIN;
	hrtc.Init.OutPutRemap = RTC_OUTPUT_REMAP_NONE;
	if (HAL_RTC_Init(&hrtc) != HAL_OK) {
		Error_Handler();
	}

	/** Enable the WakeUp
	 */
	if (HAL_RTCEx_SetWakeUpTimer_IT(&hrtc, 0, RTC_WAKEUPCLOCK_RTCCLK_DIV16)
			!= HAL_OK) {
		Error_Handler();
	}

}

static void MX_TIM2_Init(void) {

	TIM_ClockConfigTypeDef sClockSourceConfig = { 0 };
	TIM_MasterConfigTypeDef sMasterConfig = { 0 };

	htim2.Instance = TIM2;
	htim2.Init.Prescaler = 99;
	htim2.Init.CounterMode = TIM_COUNTERMODE_UP;
	htim2.Init.Period = 0xffffffff;
	htim2.Init.ClockDivision = TIM_CLOCKDIVISION_DIV1;
	htim2.Init.AutoReloadPreload = TIM_AUTORELOAD_PRELOAD_DISABLE;
	if (HAL_TIM_Base_Init(&htim2) != HAL_OK) {
		Error_Handler();
	}
	sClockSourceConfig.ClockSource = TIM_CLOCKSOURCE_INTERNAL;
	if (HAL_TIM_ConfigClockSource(&htim2, &sClockSourceConfig) != HAL_OK) {
		Error_Handler();
	}
	sMasterConfig.MasterOutputTrigger = TIM_TRGO_RESET;
	sMasterConfig.MasterSlaveMode = TIM_MASTERSLAVEMODE_DISABLE;
	if (HAL_TIMEx_MasterConfigSynchronization(&htim2, &sMasterConfig)
			!= HAL_OK) {
		Error_Handler();
	}

}

static void MX_DMA_Init(void) {

	/* DMA controller clock enable */
	__HAL_RCC_DMAMUX1_CLK_ENABLE();
	__HAL_RCC_DMA1_CLK_ENABLE();

	/* DMA interrupt init */
	/* DMA1_Channel7_IRQn interrupt configuration */
	HAL_NVIC_SetPriority(DMA1_Channel7_IRQn, 0, 0);
	HAL_NVIC_EnableIRQ(DMA1_Channel7_IRQn);
	/* DMAMUX1_OVR_IRQn interrupt configuration */
	HAL_NVIC_SetPriority(DMAMUX1_OVR_IRQn, 0, 0);
	HAL_NVIC_EnableIRQ(DMAMUX1_OVR_IRQn);

}

static void MX_GPIO_Init(void) {
	GPIO_InitTypeDef GPIO_InitStruct = { 0 };

	/* GPIO Ports Clock Enable */
	__HAL_RCC_GPIOC_CLK_ENABLE();
	__HAL_RCC_GPIOB_CLK_ENABLE();
	__HAL_RCC_GPIOA_CLK_ENABLE();
	__HAL_RCC_GPIOD_CLK_ENABLE();

	/*Configure GPIO pin Output Level */
	HAL_GPIO_WritePin(GPIOA, GPIO_PIN_6 | GPIO_PIN_7, GPIO_PIN_RESET);

	/*Configure GPIO pin Output Level */
	HAL_GPIO_WritePin(GPIOB, LD2_Pin | LD3_Pin | LD1_Pin, GPIO_PIN_RESET);

	/*Configure GPIO pins : PA6 PA7 */
	GPIO_InitStruct.Pin = GPIO_PIN_6 | GPIO_PIN_7;
	GPIO_InitStruct.Mode = GPIO_MODE_OUTPUT_PP;
	GPIO_InitStruct.Pull = GPIO_NOPULL;
	GPIO_InitStruct.Speed = GPIO_SPEED_FREQ_LOW;
	HAL_GPIO_Init(GPIOA, &GPIO_InitStruct);

	/*Configure GPIO pin : B1_Pin */
	GPIO_InitStruct.Pin = B1_Pin;
	GPIO_InitStruct.Mode = GPIO_MODE_INPUT;
	GPIO_InitStruct.Pull = GPIO_PULLUP;
	HAL_GPIO_Init(B1_GPIO_Port, &GPIO_InitStruct);

	/*Configure GPIO pins : LD2_Pin LD3_Pin LD1_Pin */
	GPIO_InitStruct.Pin = LD2_Pin | LD3_Pin | LD1_Pin;
	GPIO_InitStruct.Mode = GPIO_MODE_OUTPUT_PP;
	GPIO_InitStruct.Pull = GPIO_NOPULL;
	GPIO_InitStruct.Speed = GPIO_SPEED_FREQ_LOW;
	HAL_GPIO_Init(GPIOB, &GPIO_InitStruct);

	/*Configure GPIO pins : USB_DM_Pin USB_DP_Pin */
	GPIO_InitStruct.Pin = USB_DM_Pin | USB_DP_Pin;
	GPIO_InitStruct.Mode = GPIO_MODE_AF_PP;
	GPIO_InitStruct.Pull = GPIO_NOPULL;
	GPIO_InitStruct.Speed = GPIO_SPEED_FREQ_LOW;
	GPIO_InitStruct.Alternate = GPIO_AF10_USB;
	HAL_GPIO_Init(GPIOA, &GPIO_InitStruct);

	/*Configure GPIO pins : B2_Pin B3_Pin */
	GPIO_InitStruct.Pin = B2_Pin | B3_Pin;
	GPIO_InitStruct.Mode = GPIO_MODE_INPUT;
	GPIO_InitStruct.Pull = GPIO_NOPULL;
	HAL_GPIO_Init(GPIOD, &GPIO_InitStruct);

	/*Configure GPIO pins : STLINK_RX_Pin STLINK_TX_Pin */
	GPIO_InitStruct.Pin = STLINK_RX_Pin | STLINK_TX_Pin;
	GPIO_InitStruct.Mode = GPIO_MODE_AF_PP;
	GPIO_InitStruct.Pull = GPIO_NOPULL;
	GPIO_InitStruct.Speed = GPIO_SPEED_FREQ_LOW;
	GPIO_InitStruct.Alternate = GPIO_AF7_USART1;
	HAL_GPIO_Init(GPIOB, &GPIO_InitStruct);

}

void Error_Handler(void) {
	__disable_irq();
	while (1) {
	}
}
